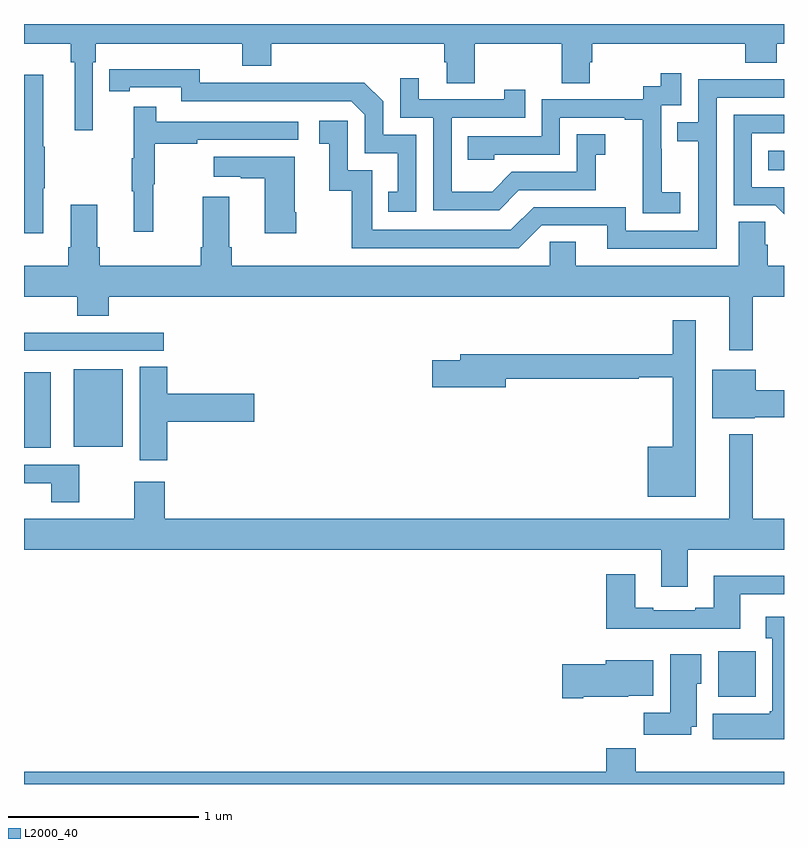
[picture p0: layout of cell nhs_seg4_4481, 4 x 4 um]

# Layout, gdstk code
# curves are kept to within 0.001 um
import gdstk
lib = gdstk.Library(unit=1e-6, precision=1e-09)
def R(c, l, rs):  # rectangles x0, y0, x1, y1
    for r in rs: c.add(gdstk.rectangle(r[:2], r[2:], *l))
def P(c, l, *ps):  # polygons
    for p in ps: c.add(gdstk.Polygon(p, *l))
L2000_40 = (2000, 40)

nhs_seg4_4481 = lib.new_cell('nhs_seg4_4481')
R(nhs_seg4_4481, L2000_40, [(354.653,817.358,354.85,817.6), (351,818.669,351.142,819.067), (351.263,818.675,351.52,819.082), (351,819.18,351.736,819.276), (354.916,820.13,355,820.234)])
P(nhs_seg4_4481, L2000_40, [(351.363,820.7),(351.377,820.7),(351.377,820.796),(352.148,820.796),(352.148,820.679),(352.301,820.679),(352.301,820.796),(353.213,820.796),(353.213,820.698),(353.225,820.698),(353.225,820.588),(353.373,820.588),(353.373,820.796),(353.83,820.796),(353.83,820.588),(353.977,820.588),(353.977,820.698),(353.99,820.698),(353.99,820.796),(354.797,820.796),(354.797,820.697),(354.962,820.697),(354.962,820.796),(355,820.796),(355,820.9),(351,820.9),(351,820.796),(351.247,820.796),(351.247,820.7),(351.266,820.7),(351.266,820.341),(351.363,820.341)],
  [(353.064,820.317),(352.89,820.317),(352.89,820.494),(352.792,820.592),(352.384,820.592),(352.384,820.59),(351.924,820.59),(351.924,820.663),(351.448,820.662),(351.448,820.546),(351.556,820.546),(351.556,820.566),(351.828,820.566),(351.828,820.494),(352.722,820.494),(352.794,820.422),(352.794,820.221),(352.967,820.221),(352.967,820.017),(352.918,820.017),(352.918,819.912),(353.064,819.912)],
  [(354.454,820.015),(354.356,820.015),(354.356,820.244),(354.354,820.244),(354.354,820.473),(354.459,820.473),(354.459,820.642),(354.351,820.642),(354.351,820.572),(354.258,820.572),(354.258,820.503),(353.724,820.503),(353.724,820.308),(353.335,820.308),(353.335,820.185),(353.475,820.185),(353.475,820.212),(353.82,820.212),(353.82,820.407),(354.161,820.407),(354.161,820.395),(354.257,820.395),(354.257,820.111),(354.256,820.111),(354.256,819.905),(354.454,819.905)],
  [(351.1,820.036),(351.108,820.036),(351.108,820.253),(351.1,820.253),(351.1,820.633),(351,820.633),(351,819.798),(351.1,819.798)],
  [(353.605,820.026),(354.009,820.026),(354.009,820.211),(354.058,820.211),(354.058,820.321),(353.91,820.321),(353.91,820.122),(353.568,820.122),(353.464,820.018),(353.25,820.018),(353.25,820.407),(353.639,820.407),(353.639,820.555),(353.528,820.555),(353.528,820.503),(353.077,820.503),(353.077,820.615),(352.98,820.615),(352.98,820.407),(353.154,820.407),(353.154,819.921),(353.5,819.921)],
  [(354.645,820.512),(355,820.512),(355,820.608),(354.549,820.608),(354.549,820.383),(354.439,820.383),(354.439,820.282),(354.549,820.282),(354.549,819.813),(354.168,819.813),(354.168,819.936),(353.682,819.936),(353.562,819.816),(352.833,819.816),(352.833,820.131),(352.704,820.131),(352.704,820.39),(352.554,820.39),(352.554,820.269),(352.607,820.269),(352.607,820.023),(352.725,820.023),(352.725,819.72),(353.604,819.72),(353.724,819.84),(354.071,819.84),(354.071,819.717),(354.645,819.717)],
  [(351.68,820.056),(351.688,820.056),(351.688,820.27),(351.911,820.27),(351.911,820.29),(352.444,820.29),(352.444,820.386),(351.695,820.386),(351.695,820.465),(351.578,820.465),(351.578,820.193),(351.567,820.193),(351.567,820.019),(351.578,820.019),(351.578,819.807),(351.68,819.807)],
  [(355,820.041),(354.831,820.041),(354.831,820.326),(355,820.326),(355,820.422),(354.735,820.422),(354.735,819.945),(354.954,819.945),(355,819.899)],
  [(352.434,819.91),(352.426,819.91),(352.426,820.201),(351.999,820.201),(351.999,820.097),(352.142,820.097),(352.142,820.087),(352.268,820.087),(352.268,819.798),(352.434,819.798)],
  [(351.281,819.365),(351.446,819.365),(351.446,819.464),(354.713,819.464),(354.713,819.183),(354.835,819.183),(354.835,819.464),(355,819.464),(355,819.628),(354.914,819.628),(354.914,819.737),(354.9,819.737),(354.9,819.86),(354.761,819.86),(354.761,819.628),(353.905,819.628),(353.905,819.755),(353.766,819.755),(353.766,819.628),(352.094,819.628),(352.094,819.724),(352.081,819.724),(352.081,819.991),(351.941,819.991),(351.941,819.724),(351.929,819.724),(351.929,819.628),(351.398,819.628),(351.398,819.724),(351.385,819.724),(351.385,819.949),(351.245,819.949),(351.245,819.724),(351.233,819.724),(351.233,819.628),(351,819.628),(351,819.464),(351.281,819.464)],
  [(354.535,819.34),(354.414,819.34),(354.414,819.163),(353.297,819.163),(353.297,819.129),(353.148,819.129),(353.148,818.987),(353.536,818.987),(353.536,819.034),(354.235,819.034),(354.235,819.042),(354.414,819.042),(354.414,818.674),(354.284,818.674),(354.284,818.411),(354.535,818.411)],
  [(351.755,818.807),(352.213,818.807),(352.213,818.954),(351.755,818.954),(351.755,819.095),(351.608,819.095),(351.608,818.604),(351.755,818.604)],
  [(354.846,818.831),(355,818.831),(355,818.973),(354.85,818.973),(354.85,819.079),(354.623,819.079),(354.623,818.825),(354.846,818.825)],
  [(354.493,818.132),(355,818.132),(355,818.296),(354.835,818.296),(354.835,818.74),(354.713,818.74),(354.713,818.296),(351.74,818.296),(351.74,818.491),(351.58,818.491),(351.58,818.296),(351,818.296),(351,818.132),(354.353,818.132),(354.353,817.938),(354.493,817.938)],
  [(351.291,818.58),(351,818.58),(351,818.484),(351.143,818.484),(351.143,818.382),(351.291,818.382)],
  [(354.769,817.899),(355,817.899),(355,817.996),(354.629,817.996),(354.629,817.828),(354.533,817.828),(354.533,817.815),(354.313,817.815),(354.313,817.828),(354.217,817.828),(354.217,818.005),(354.065,818.005),(354.065,817.718),(354.769,817.718)],
  [(355,817.78),(354.905,817.78),(354.905,817.667),(354.938,817.667),(354.938,817.284),(354.925,817.284),(354.925,817.27),(354.626,817.27),(354.626,817.136),(355,817.136)],
  [(354.511,817.202),(354.541,817.202),(354.541,817.428),(354.565,817.428),(354.565,817.582),(354.401,817.582),(354.401,817.276),(354.262,817.276),(354.262,817.158),(354.511,817.158)],
  [(353.944,817.358),(354.18,817.358),(354.18,817.364),(354.313,817.364),(354.313,817.552),(354.062,817.552),(354.062,817.529),(353.832,817.529),(353.832,817.351),(353.944,817.351)],
  [(355,816.964),(354.221,816.964),(354.221,817.088),(354.065,817.088),(354.065,816.964),(351,816.964),(351,816.9),(355,816.9)])

lib.write_gds('nhs_seg4_4481.gds')
